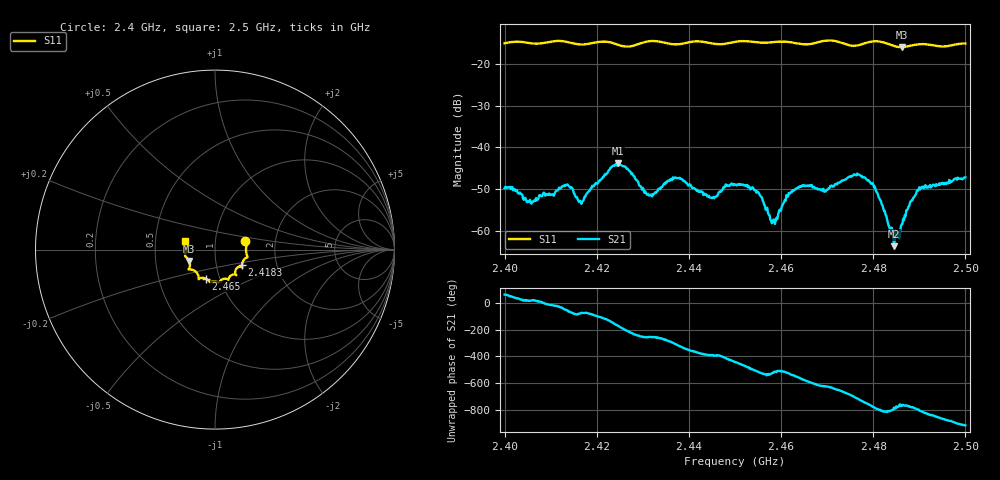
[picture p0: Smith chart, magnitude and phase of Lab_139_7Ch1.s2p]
# Hz S RI R 50
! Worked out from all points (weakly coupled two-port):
!   601 points, 2.4 GHz to 2.5 GHz, reference 50 ohm
!   highest |S21| = -43.80 dB at 2.4247 GHz (marker M1); lowest = -63.5 dB at 2.4845 GHz (marker M2)
!   lowest |S11| = -16.1 dB at 2.4862 GHz (marker M3), VSWR 1.37, Z = 37.2 - j4.81 ohm
!   |S11| at or under -10 dB: start of sweep to end of sweep
!   S12 and S22 are empty: the file has one direction only
!   S11 on the Smith chart (normalised r, x): 2.4 GHz: 1.40, +0.13; 2.4183 GHz: 1.33, -0.24; 2.465 GHz: 0.86, -0.28; 2.5 GHz: 0.71, +0.07
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2.4e9  0.1685 0.0464  0.00154 0.00286  0 0  0 0
2.405833e9  0.1736 0.0108  0.00203 0.000673  0 0  0 0
2.413667e9  0.1748 -0.0451  0.00195 -0.00303  0 0  0 0
2.416667e9  0.1546 -0.0677  0.000575 -0.00205  0 0  0 0
2.418333e9  0.1497 -0.0865  0.000515 -0.00298  0 0  0 0
2.424667e9  0.1374 -0.0954  -0.00642 -0.000699  0 0  0 0
2.430833e9  0.1159 -0.1413  -0.000569 0.00268  0 0  0 0
2.433333e9  0.1175 -0.1411  -0.000557 0.00313  0 0  0 0
2.4375e9  0.0863 -0.146  0.00309 0.003  0 0  0 0
2.445e9  0.0621 -0.1623  0.00214 -0.00127  0 0  0 0
2.45e9  0.0256 -0.1799  0.000445 -0.0036  0 0  0 0
2.454833e9  0.00938 -0.179  -0.00268 -0.00131  0 0  0 0
2.458333e9  -0.0196 -0.1795  -0.00133 -0.000372  0 0  0 0
2.465e9  -0.0525 -0.1614  -0.00283 0.00211  0 0  0 0
2.466667e9  -0.0711 -0.1571  -0.00179 0.00307  0 0  0 0
2.477e9  -0.1217 -0.1136  0.00471 -0.000454  0 0  0 0
2.480333e9  -0.1478 -0.1107  0.00146 -0.00309  0 0  0 0
2.483333e9  -0.1409 -0.0966  6.56e-06 -0.00116  0 0  0 0
2.4845e9  -0.1392 -0.0835  0.000297 -0.000595  0 0  0 0
2.486167e9  -0.1436 -0.0631  0.000748 -0.000951  0 0  0 0
2.49e9  -0.1662 -0.037  0.000295 -0.00333  0 0  0 0
2.5e9  -0.1668 0.0472  -0.00419 0.00132  0 0  0 0
